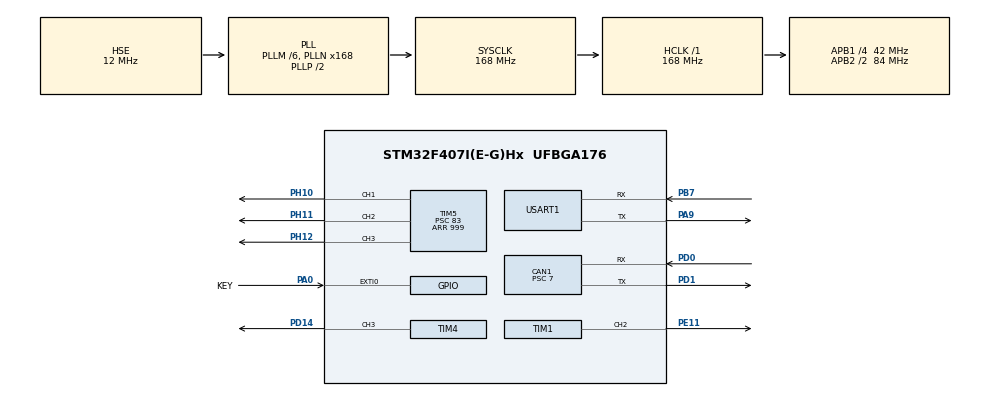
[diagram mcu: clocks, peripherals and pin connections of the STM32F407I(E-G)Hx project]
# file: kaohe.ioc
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CAN1.BS1=CAN_BS1_4TQ
CAN1.CalculateBaudRate=999999
CAN1.CalculateTimeBit=1000
CAN1.CalculateTimeQuantum=166.66666666666669
CAN1.Prescaler=7
FREERTOS.Tasks01=defaultTask,24,128,StartDefaultTask,Default,NULL,Dynamic,NULL,NULL;LedTask,16,128,StartLedTask,Default,NULL,Dynamic,NULL,NULL;ServoSweep,16,128,ServoSweepTask,Default,NULL,Dynamic,NULL,NULL;CommTask,16,128,StartCommTask,Default,NULL,Dynamic,NULL,NULL;MotorCtrl,48,256,StartMotorCtrlTask,Default,NULL,Dynamic,NULL,NULL;BuzzerTask,17,128,StartBuzzerTask,Default,NULL,Dynamic,NULL,NULL
Mcu.Family=STM32F4
Mcu.Name=STM32F407I(E-G)Hx
Mcu.Package=UFBGA176
NVIC.CAN1_RX0_IRQn=true\:5\:0\:false\:false\:true\:true\:true\:true\:true
NVIC.EXTI0_IRQn=true\:5\:0\:false\:false\:true\:true\:true\:true\:true
NVIC.PriorityGroup=NVIC_PRIORITYGROUP_4
NVIC.TIM6_DAC_IRQn=true\:15\:0\:false\:false\:true\:false\:false\:true\:true
NVIC.TimeBase=TIM6_DAC_IRQn
NVIC.TimeBaseIP=TIM6
NVIC.USART1_IRQn=true\:5\:0\:false\:false\:true\:true\:true\:true\:true
PA0-WKUP.GPIO_Label=KEY
PA0-WKUP.GPIO_ModeDefaultEXTI=GPIO_MODE_IT_FALLING
PA0-WKUP.GPIO_PuPd=GPIO_PULLUP
PA0-WKUP.Signal=GPXTI0
PA13.Mode=Serial_Wire
PA13.Signal=SYS_JTMS-SWDIO
PA14.Mode=Serial_Wire
PA14.Signal=SYS_JTCK-SWCLK
PA9.Mode=Asynchronous
PA9.Signal=USART1_TX
PB7.Mode=Asynchronous
PB7.Signal=USART1_RX
PD0.Mode=CAN_Activate
PD0.Signal=CAN1_RX
PD1.Mode=CAN_Activate
PD1.Signal=CAN1_TX
PD14.Signal=S_TIM4_CH3
PE11.Signal=S_TIM1_CH2
PH0-OSC_IN.Mode=HSE-External-Oscillator
PH0-OSC_IN.Signal=RCC_OSC_IN
PH1-OSC_OUT.Mode=HSE-External-Oscillator
PH1-OSC_OUT.Signal=RCC_OSC_OUT
PH10.Signal=S_TIM5_CH1
PH11.Signal=S_TIM5_CH2
PH12.Signal=S_TIM5_CH3
ProjectManager.HeapSize=0x200
ProjectManager.StackSize=0x400
ProjectManager.TargetToolchain=CMake
RCC.48MHZClocksFreq_Value=84000000
RCC.AHBFreq_Value=168000000
RCC.APB1CLKDivider=RCC_HCLK_DIV4
RCC.APB1Freq_Value=42000000
RCC.APB1TimFreq_Value=84000000
RCC.APB2CLKDivider=RCC_HCLK_DIV2
RCC.APB2Freq_Value=84000000
RCC.APB2TimFreq_Value=168000000
RCC.CortexFreq_Value=168000000
RCC.HCLKFreq_Value=168000000
RCC.HSE_VALUE=12000000
RCC.HSI_VALUE=16000000
RCC.LSE_VALUE=32768
RCC.PLLM=6
RCC.PLLN=168
RCC.PLLSourceVirtual=RCC_PLLSOURCE_HSE
RCC.SYSCLKFreq_VALUE=168000000
RCC.SYSCLKSource=RCC_SYSCLKSOURCE_PLLCLK
RCC.VCOOutputFreq_Value=336000000
SH.S_TIM1_CH2.0=TIM1_CH2,PWM Generation2 CH2
SH.S_TIM4_CH3.0=TIM4_CH3,PWM Generation3 CH3
SH.S_TIM5_CH1.0=TIM5_CH1,PWM Generation1 CH1
SH.S_TIM5_CH2.0=TIM5_CH2,PWM Generation2 CH2
SH.S_TIM5_CH3.0=TIM5_CH3,PWM Generation3 CH3
TIM1.Channel-PWM\ Generation2\ CH2=TIM_CHANNEL_2
TIM1.Period=20000-1
TIM1.Prescaler=168-1
TIM1.Pulse-PWM\ Generation2\ CH2=1500
TIM4.Channel-PWM\ Generation3\ CH3=TIM_CHANNEL_3
TIM4.Period=999
TIM4.Prescaler=83
TIM5.Channel-PWM\ Generation1\ CH1=TIM_CHANNEL_1
TIM5.Channel-PWM\ Generation2\ CH2=TIM_CHANNEL_2
TIM5.Channel-PWM\ Generation3\ CH3=TIM_CHANNEL_3
TIM5.Period=999
TIM5.Prescaler=83
USART1.VirtualMode=VM_ASYNC
VP_FREERTOS_VS_CMSIS_V2.Mode=CMSIS_V2
VP_SYS_VS_tim6.Mode=TIM6
VP_TIM5_VS_ClockSourceINT.Mode=Internal
board=custom

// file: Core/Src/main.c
/* USER CODE BEGIN Header */
/**
  ******************************************************************************
  * @file           : main.c
  * @brief          : Main program body
  ******************************************************************************
  * @attention
  *
  * Copyright (c) 2026 STMicroelectronics.
  * All rights reserved.
  *
  * This software is licensed under terms that can be found in the LICENSE file
  * in the root directory of this software component.
  * If no LICENSE file comes with this software, it is provided AS-IS.
  *
  ******************************************************************************
  */
/* USER CODE END Header */
#include "main.h"
#include "cmsis_os.h"

/* USER CODE BEGIN Includes */
#include "buzzer.h"
#include "led.h"
#include "servo.h"
#include "comm.h"
#include "motor.h"
/* USER CODE END Includes */

CAN_HandleTypeDef hcan1;

TIM_HandleTypeDef htim1;
TIM_HandleTypeDef htim4;
TIM_HandleTypeDef htim5;

UART_HandleTypeDef huart1;

/* Definitions for defaultTask */
osThreadId_t defaultTaskHandle;
const osThreadAttr_t defaultTask_attributes = {
  .name = "defaultTask",
  .stack_size = 128 * 4,
  .priority = (osPriority_t) osPriorityNormal,
};
/* Definitions for LedTask */
osThreadId_t LedTaskHandle;
const osThreadAttr_t LedTask_attributes = {
  .name = "LedTask",
  .stack_size = 128 * 4,
  .priority = (osPriority_t) osPriorityBelowNormal,
};
/* Definitions for ServoSweep */
osThreadId_t ServoSweepHandle;
const osThreadAttr_t ServoSweep_attributes = {
  .name = "ServoSweep",
  .stack_size = 128 * 4,
  .priority = (osPriority_t) osPriorityBelowNormal,
};
/* Definitions for CommTask */
osThreadId_t CommTaskHandle;
const osThreadAttr_t CommTask_attributes = {
  .name = "CommTask",
  .stack_size = 128 * 4,
  .priority = (osPriority_t) osPriorityBelowNormal,
};
/* Definitions for MotorCtrl */
osThreadId_t MotorCtrlHandle;
const osThreadAttr_t MotorCtrl_attributes = {
  .name = "MotorCtrl",
  .stack_size = 256 * 4,
  .priority = (osPriority_t) osPriorityRealtime,
};
/* Definitions for BuzzerTask */
osThreadId_t BuzzerTaskHandle;
const osThreadAttr_t BuzzerTask_attributes = {
  .name = "BuzzerTask",
  .stack_size = 128 * 4,
  .priority = (osPriority_t) osPriorityBelowNormal1,
};

void SystemClock_Config(void);
static void MX_GPIO_Init(void);
static void MX_TIM4_Init(void);
static void MX_TIM5_Init(void);
static void MX_TIM1_Init(void);
static void MX_USART1_UART_Init(void);
static void MX_CAN1_Init(void);
void StartDefaultTask(void *argument);
void StartLedTask(void *argument);
void ServoSweepTask(void *argument);
void StartCommTask(void *argument);
void StartMotorCtrlTask(void *argument);
void StartBuzzerTask(void *argument);

int main(void)
{

  /* MCU Configuration--------------------------------------------------------*/

  /* Reset of all peripherals, Initializes the Flash interface and the Systick. */
  HAL_Init();

  /* Configure the system clock */
  SystemClock_Config();

  /* Initialize all configured peripherals */
  MX_GPIO_Init();
  MX_TIM4_Init();
  MX_TIM5_Init();
  MX_TIM1_Init();
  MX_USART1_UART_Init();
  MX_CAN1_Init();
  /* USER CODE BEGIN 2 */

  Buzzer_Init();          // 初始化 PWM，保持静音
  Buzzer_PlayBootBeep();  // 上电提示音

  /* USER CODE END 2 */

  /* Init scheduler */
  osKernelInitialize();

  /* Create the thread(s) */
  /* creation of LedTask */
  LedTaskHandle = osThreadNew(StartLedTask, NULL, &LedTask_attributes);

  /* creation of ServoSweep */
  ServoSweepHandle = osThreadNew(ServoSweepTask, NULL, &ServoSweep_attributes);

  /* creation of CommTask */
  CommTaskHandle = osThreadNew(StartCommTask, NULL, &CommTask_attributes);

  /* creation of MotorCtrl */
  MotorCtrlHandle = osThreadNew(StartMotorCtrlTask, NULL, &MotorCtrl_attributes);

  /* creation of BuzzerTask */
  BuzzerTaskHandle = osThreadNew(StartBuzzerTask, NULL, &BuzzerTask_attributes);

  /* Start scheduler */
  osKernelStart();

  /* We should never get here as control is now taken by the scheduler */

  /* Infinite loop */
  while (1)
  {

  }
}

void SystemClock_Config(void)
{
  RCC_OscInitTypeDef RCC_OscInitStruct = {0};
  RCC_ClkInitTypeDef RCC_ClkInitStruct = {0};

  /** Configure the main internal regulator output voltage
  */
  __HAL_RCC_PWR_CLK_ENABLE();
  __HAL_PWR_VOLTAGESCALING_CONFIG(PWR_REGULATOR_VOLTAGE_SCALE1);

  /** Initializes the RCC Oscillators according to the specified parameters
  * in the RCC_OscInitTypeDef structure.
  */
  RCC_OscInitStruct.OscillatorType = RCC_OSCILLATORTYPE_HSE;
  RCC_OscInitStruct.HSEState = RCC_HSE_ON;
  RCC_OscInitStruct.PLL.PLLState = RCC_PLL_ON;
  RCC_OscInitStruct.PLL.PLLSource = RCC_PLLSOURCE_HSE;
  RCC_OscInitStruct.PLL.PLLM = 6;
  RCC_OscInitStruct.PLL.PLLN = 168;
  RCC_OscInitStruct.PLL.PLLP = RCC_PLLP_DIV2;
  RCC_OscInitStruct.PLL.PLLQ = 4;
  if (HAL_RCC_OscConfig(&RCC_OscInitStruct) != HAL_OK)
  {
    Error_Handler();
  }

  /** Initializes the CPU, AHB and APB buses clocks
  */
  RCC_ClkInitStruct.ClockType = RCC_CLOCKTYPE_HCLK|RCC_CLOCKTYPE_SYSCLK
                              |RCC_CLOCKTYPE_PCLK1|RCC_CLOCKTYPE_PCLK2;
  RCC_ClkInitStruct.SYSCLKSource = RCC_SYSCLKSOURCE_PLLCLK;
  RCC_ClkInitStruct.AHBCLKDivider = RCC_SYSCLK_DIV1;
  RCC_ClkInitStruct.APB1CLKDivider = RCC_HCLK_DIV4;
  RCC_ClkInitStruct.APB2CLKDivider = RCC_HCLK_DIV2;

  if (HAL_RCC_ClockConfig(&RCC_ClkInitStruct, FLASH_LATENCY_5) != HAL_OK)
  {
    Error_Handler();
  }
}

static void MX_CAN1_Init(void)
{

  hcan1.Instance = CAN1;
  hcan1.Init.Prescaler = 7;
  hcan1.Init.Mode = CAN_MODE_NORMAL;
  hcan1.Init.SyncJumpWidth = CAN_SJW_1TQ;
  hcan1.Init.TimeSeg1 = CAN_BS1_4TQ;
  hcan1.Init.TimeSeg2 = CAN_BS2_1TQ;
  hcan1.Init.TimeTriggeredMode = DISABLE;
  hcan1.Init.AutoBusOff = DISABLE;
  hcan1.Init.AutoWakeUp = DISABLE;
  hcan1.Init.AutoRetransmission = DISABLE;
  hcan1.Init.ReceiveFifoLocked = DISABLE;
  hcan1.Init.TransmitFifoPriority = DISABLE;
  if (HAL_CAN_Init(&hcan1) != HAL_OK)
  {
    Error_Handler();
  }
  /* USER CODE BEGIN CAN1_Init 2 */
  CAN_FilterTypeDef filter = {0};
  filter.FilterMode = CAN_FILTERMODE_IDMASK;
  filter.FilterScale = CAN_FILTERSCALE_32BIT;
  filter.FilterIdHigh = 0x0000;
  filter.FilterIdLow = 0x0000;
  filter.FilterMaskIdHigh = 0x0000;
  filter.FilterMaskIdLow = 0x0000;
  filter.FilterFIFOAssignment = CAN_RX_FIFO0;
  filter.FilterBank = 0;
  filter.FilterActivation = ENABLE;
  filter.SlaveStartFilterBank = 14;
if (HAL_CAN_ConfigFilter(&hcan1, &filter) != HAL_OK) {
    Error_Handler();
}
  /* USER CODE END CAN1_Init 2 */

}

static void MX_TIM1_Init(void)
{

  TIM_MasterConfigTypeDef sMasterConfig = {0};
  TIM_OC_InitTypeDef sConfigOC = {0};
  TIM_BreakDeadTimeConfigTypeDef sBreakDeadTimeConfig = {0};

  htim1.Instance = TIM1;
  htim1.Init.Prescaler = 168-1;
  htim1.Init.CounterMode = TIM_COUNTERMODE_UP;
  htim1.Init.Period = 20000-1;
  htim1.Init.ClockDivision = TIM_CLOCKDIVISION_DIV1;
  htim1.Init.RepetitionCounter = 0;
  htim1.Init.AutoReloadPreload = TIM_AUTORELOAD_PRELOAD_DISABLE;
  if (HAL_TIM_PWM_Init(&htim1) != HAL_OK)
  {
    Error_Handler();
  }
  sMasterConfig.MasterOutputTrigger = TIM_TRGO_RESET;
  sMasterConfig.MasterSlaveMode = TIM_MASTERSLAVEMODE_DISABLE;
  if (HAL_TIMEx_MasterConfigSynchronization(&htim1, &sMasterConfig) != HAL_OK)
  {
    Error_Handler();
  }
  sConfigOC.OCMode = TIM_OCMODE_PWM1;
  sConfigOC.Pulse = 1500;
  sConfigOC.OCPolarity = TIM_OCPOLARITY_HIGH;
  sConfigOC.OCNPolarity = TIM_OCNPOLARITY_HIGH;
  sConfigOC.OCFastMode = TIM_OCFAST_DISABLE;
  sConfigOC.OCIdleState = TIM_OCIDLESTATE_RESET;
  sConfigOC.OCNIdleState = TIM_OCNIDLESTATE_RESET;
  if (HAL_TIM_PWM_ConfigChannel(&htim1, &sConfigOC, TIM_CHANNEL_2) != HAL_OK)
  {
    Error_Handler();
  }
  sBreakDeadTimeConfig.OffStateRunMode = TIM_OSSR_DISABLE;
  sBreakDeadTimeConfig.OffStateIDLEMode = TIM_OSSI_DISABLE;
  sBreakDeadTimeConfig.LockLevel = TIM_LOCKLEVEL_OFF;
  sBreakDeadTimeConfig.DeadTime = 0;
  sBreakDeadTimeConfig.BreakState = TIM_BREAK_DISABLE;
  sBreakDeadTimeConfig.BreakPolarity = TIM_BREAKPOLARITY_HIGH;
  sBreakDeadTimeConfig.AutomaticOutput = TIM_AUTOMATICOUTPUT_DISABLE;
  if (HAL_TIMEx_ConfigBreakDeadTime(&htim1, &sBreakDeadTimeConfig) != HAL_OK)
  {
    Error_Handler();
  }
  HAL_TIM_MspPostInit(&htim1);

}

static void MX_TIM4_Init(void)
{

  TIM_MasterConfigTypeDef sMasterConfig = {0};
  TIM_OC_InitTypeDef sConfigOC = {0};

  htim4.Instance = TIM4;
  htim4.Init.Prescaler = 83;
  htim4.Init.CounterMode = TIM_COUNTERMODE_UP;
  htim4.Init.Period = 999;
  htim4.Init.ClockDivision = TIM_CLOCKDIVISION_DIV1;
  htim4.Init.AutoReloadPreload = TIM_AUTORELOAD_PRELOAD_DISABLE;
  if (HAL_TIM_PWM_Init(&htim4) != HAL_OK)
  {
    Error_Handler();
  }
  sMasterConfig.MasterOutputTrigger = TIM_TRGO_RESET;
  sMasterConfig.MasterSlaveMode = TIM_MASTERSLAVEMODE_DISABLE;
  if (HAL_TIMEx_MasterConfigSynchronization(&htim4, &sMasterConfig) != HAL_OK)
  {
    Error_Handler();
  }
  sConfigOC.OCMode = TIM_OCMODE_PWM1;
  sConfigOC.Pulse = 0;
  sConfigOC.OCPolarity = TIM_OCPOLARITY_HIGH;
  sConfigOC.OCFastMode = TIM_OCFAST_DISABLE;
  if (HAL_TIM_PWM_ConfigChannel(&htim4, &sConfigOC, TIM_CHANNEL_3) != HAL_OK)
  {
    Error_Handler();
  }
  HAL_TIM_MspPostInit(&htim4);

}

static void MX_TIM5_Init(void)
{

  TIM_ClockConfigTypeDef sClockSourceConfig = {0};
  TIM_MasterConfigTypeDef sMasterConfig = {0};
  TIM_OC_InitTypeDef sConfigOC = {0};

  htim5.Instance = TIM5;
  htim5.Init.Prescaler = 83;
  htim5.Init.CounterMode = TIM_COUNTERMODE_UP;
  htim5.Init.Period = 999;
  htim5.Init.ClockDivision = TIM_CLOCKDIVISION_DIV1;
  htim5.Init.AutoReloadPreload = TIM_AUTORELOAD_PRELOAD_DISABLE;
  if (HAL_TIM_Base_Init(&htim5) != HAL_OK)
  {
    Error_Handler();
  }
  sClockSourceConfig.ClockSource = TIM_CLOCKSOURCE_INTERNAL;
  if (HAL_TIM_ConfigClockSource(&htim5, &sClockSourceConfig) != HAL_OK)
  {
    Error_Handler();
  }
  if (HAL_TIM_PWM_Init(&htim5) != HAL_OK)
  {
    Error_Handler();
  }
  sMasterConfig.MasterOutputTrigger = TIM_TRGO_RESET;
  sMasterConfig.MasterSlaveMode = TIM_MASTERSLAVEMODE_DISABLE;
  if (HAL_TIMEx_MasterConfigSynchronization(&htim5, &sMasterConfig) != HAL_OK)
  {
    Error_Handler();
  }
  sConfigOC.OCMode = TIM_OCMODE_PWM1;
  sConfigOC.Pulse = 0;
  sConfigOC.OCPolarity = TIM_OCPOLARITY_HIGH;
  sConfigOC.OCFastMode = TIM_OCFAST_DISABLE;
  if (HAL_TIM_PWM_ConfigChannel(&htim5, &sConfigOC, TIM_CHANNEL_1) != HAL_OK)
  {
    Error_Handler();
  }
  if (HAL_TIM_PWM_ConfigChannel(&htim5, &sConfigOC, TIM_CHANNEL_2) != HAL_OK)
  {
    Error_Handler();
  }
  if (HAL_TIM_PWM_ConfigChannel(&htim5, &sConfigOC, TIM_CHANNEL_3) != HAL_OK)
  {
    Error_Handler();
  }
  HAL_TIM_MspPostInit(&htim5);

}

static void MX_USART1_UART_Init(void)
{

  huart1.Instance = USART1;
  huart1.Init.BaudRate = 115200;
  huart1.Init.WordLength = UART_WORDLENGTH_8B;
  huart1.Init.StopBits = UART_STOPBITS_1;
  huart1.Init.Parity = UART_PARITY_NONE;
  huart1.Init.Mode = UART_MODE_TX_RX;
  huart1.Init.HwFlowCtl = UART_HWCONTROL_NONE;
  huart1.Init.OverSampling = UART_OVERSAMPLING_16;
  if (HAL_UART_Init(&huart1) != HAL_OK)
  {
    Error_Handler();
  }

}

static void MX_GPIO_Init(void)
{
  GPIO_InitTypeDef GPIO_InitStruct = {0};

  /* GPIO Ports Clock Enable */
  __HAL_RCC_GPIOA_CLK_ENABLE();
  __HAL_RCC_GPIOB_CLK_ENABLE();
  __HAL_RCC_GPIOD_CLK_ENABLE();
  __HAL_RCC_GPIOH_CLK_ENABLE();
  __HAL_RCC_GPIOE_CLK_ENABLE();

  /*Configure GPIO pin : KEY_Pin */
  GPIO_InitStruct.Pin = KEY_Pin;
  GPIO_InitStruct.Mode = GPIO_MODE_IT_FALLING;
  GPIO_InitStruct.Pull = GPIO_PULLUP;
  HAL_GPIO_Init(KEY_GPIO_Port, &GPIO_InitStruct);

  /* EXTI interrupt init*/
  HAL_NVIC_SetPriority(EXTI0_IRQn, 5, 0);
  HAL_NVIC_EnableIRQ(EXTI0_IRQn);

}

void HAL_TIM_PeriodElapsedCallback(TIM_HandleTypeDef *htim)
{
  if (htim->Instance == TIM6)
  {
    HAL_IncTick();
  }
}

void Error_Handler(void)
{
  __disable_irq();
  while (1)
  {
  }
}

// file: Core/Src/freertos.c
/* USER CODE BEGIN Header */
/**
  ******************************************************************************
  * File Name          : freertos.c
  * Description        : Code for freertos applications
  ******************************************************************************
  */
/* USER CODE END Header */

#include "FreeRTOS.h"
#include "task.h"
#include "main.h"

/* USER CODE BEGIN Includes */
#include "cmsis_os.h"
#include "led.h"
#include "servo.h"
#include "comm.h"
#include "motor.h"
#include "buzzer.h"
/* USER CODE END Includes */

/* USER CODE BEGIN Application */

/* ============================================================
 *  任务一：蜂鸣器
 *  - 上电音：在 main.c 的 USER CODE BEGIN 2 里完成
 *  - 按键 PA0：轮换播放两种报错音
 * ============================================================ */
void StartBuzzerTask(void *argument)
{
  Buzzer_Init();

  uint8_t last_key = 1;
  uint8_t play_index = 0;

  for(;;)
  {
      uint8_t key = HAL_GPIO_ReadPin(GPIOA, GPIO_PIN_0);

      if (last_key == 1 && key == 0)
      {
          osDelay(20);
          if (HAL_GPIO_ReadPin(GPIOA, GPIO_PIN_0) == 0)
          {
              if (play_index == 0) {
                  Buzzer_PlayErrorTone(BUZZER_ERR_1);
                  play_index = 1;
              } else {
                  Buzzer_PlayErrorTone(BUZZER_ERR_2);
                  play_index = 0;
              }
              while (HAL_GPIO_ReadPin(GPIOA, GPIO_PIN_0) == 0) {
                  osDelay(10);
              }
          }
      }
      last_key = key;
      osDelay(20);
  }
}

/* ============================================================
 *  任务二：LED 流水灯
 * ============================================================ */
void StartLedTask(void *argument)
{
  Led_Init();
  for(;;)
  {
      Led_SetColor(1000, 0, 0);  osDelay(200);
      Led_SetColor(0, 1000, 0);  osDelay(200);
      Led_SetColor(0, 0, 1000);  osDelay(200);
      Led_AllOff();              osDelay(100);
  }
}

/* ============================================================
 *  任务三：舵机扫动
 * ============================================================ */
void ServoSweepTask(void *argument)
{
  Servo_Init();
  for(;;)
  {
      for(uint8_t angle = 0; angle <= 180; angle += 45)
      {
          Servo_SetAngle(angle);
          osDelay(1000);
      }
      osDelay(1000);
      Servo_SetAngle(0);
      osDelay(1000);
  }
}

/* ============================================================
 *  任务四：串口收发
 * ============================================================ */
void StartCommTask(void *argument)
{
  Comm_Init();
  for(;;)
  {
      osDelay(100);
  }
}

/* ============================================================
 *  任务五：3508 电机角度闭环
 * ============================================================ */
void StartMotorCtrlTask(void *argument)
{
  Motor_Init();
  HAL_CAN_Start(&hcan1);
  HAL_CAN_ActivateNotification(&hcan1, CAN_IT_RX_FIFO0_MSG_PENDING);
  osDelay(500);

  uint32_t tick = 0;

  for(;;)
  {
      if (tick < 1000) {
          pid_angle.setpoint = 90.0f * tick / 1000.0f;
      }
      else if (tick < 2000) {
          pid_angle.setpoint = 90.0f - 180.0f * (tick - 1000) / 1000.0f;
      }
      else {
          pid_angle.setpoint = -90.0f;
      }

      Motor_ControlLoop();
      tick++;
      osDelay(1);
  }
}
/* USER CODE END Application */
